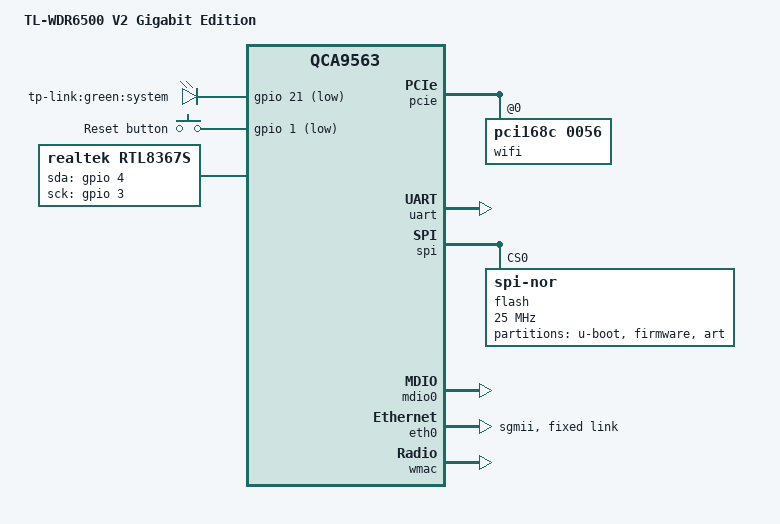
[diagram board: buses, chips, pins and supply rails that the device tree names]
// SPDX-License-Identifier: GPL-2.0-or-later OR MIT

#include "qca956x.dtsi"

#include <dt-bindings/gpio/gpio.h>
#include <dt-bindings/input/input.h>

/ {
	compatible = "tplink,tl-wdr6500-v2-gigabit", "qca,qca9563";
	model = "TL-WDR6500 V2 Gigabit Edition";

	aliases {
		led-boot = &led_system;
		led-failsafe = &led_system;
		led-running = &led_system;
		led-upgrade = &led_system;
	};

	leds {
		compatible = "gpio-leds";
		pinctrl-names = "default";
		pinctrl-0 = <&jtag_disable_pins>;

		led_system: system {
			label = "tp-link:green:system";
			gpios = <&gpio 21 GPIO_ACTIVE_LOW>;
			default-state = "on";
		};
	};

	keys {
		compatible = "gpio-keys";

		reset {
			label = "Reset button";
			linux,code = <KEY_RESTART>;
			gpios = <&gpio 1 GPIO_ACTIVE_LOW>;
			debounce-interval = <60>;
		};
	};

	rtl8367s {
		compatible = "realtek,rtl8367s";
		/*
		 * stock fw:
		 *   0x1307 (ext1_rgmxf) -> 0x4
		 *   0x1305 (dis_sel) -> 0c090, 0x13c3 (dis_sel_1) -> 0x0
		 *   0x1311 (ext1_force) -> 0x1076
		 *
		 *   txdelay = 0
		 *   rxdelay = 4
		 *   mode = SGMII (9)
		 *   force = true
		 *   (nway = false)
		 *   tx_pause = true
		 *   rx_pause = true
		 *   link = true
		 *   duplex = full (1)
		 *   speed = 1000M (2)
		 */
		gpio-sda = <&gpio 4 GPIO_ACTIVE_HIGH>;
		gpio-sck = <&gpio 3 GPIO_ACTIVE_HIGH>;
		realtek,extif1 = <1 1 9 1 1 1 1 1 2>;
		mii-bus = <&mdio0>;
		cpu_port = <6>;
	};
};

&pcie {
	status = "okay";

	wifi@0,0 {
		compatible = "pci168c,0056";
		reg = <0x0000 0 0 0 0>;
	};
};

&uart {
	status = "okay";
};

&gpio {
	status = "okay";
};

&spi {
	status = "okay";

	flash@0 {
		compatible = "jedec,spi-nor";
		reg = <0>;
		spi-max-frequency = <25000000>;

		partitions {
			compatible = "fixed-partitions";
			#address-cells = <1>;
			#size-cells = <1>;

			partition@0 {
				label = "u-boot";
				reg = <0x000000 0x020000>;
				read-only;
			};

			partition@20000 {
				compatible = "tplink,firmware";
				label = "firmware";
				reg = <0x020000 0xfd0000>;
			};

			art: partition@ff0000 {
				label = "art";
				reg = <0xff0000 0x010000>;
				read-only;
			};
		};
	};
};

&mdio0 {
	status = "okay";
};

&eth0 {
	status = "okay";
	phy-mode = "sgmii";
	mtd-mac-address = <&art 0x0>;
	pll-data = <0x03000101 0x00000101 0x00001919>;

	fixed-link {
		speed = <1000>;
		full-duplex;
	};

	gmac-config {
		device = <&gmac>;
		rgmii-enabled = <1>;
		ge0-sgmii = <1>;
		rxdv-delay = <3>;
		rxd-delay = <3>;
	};
};

&wmac {
	status = "okay";

	mtd-cal-data = <&art 0x1000>;
	mtd-mac-address = <&art 0x0>;
};
